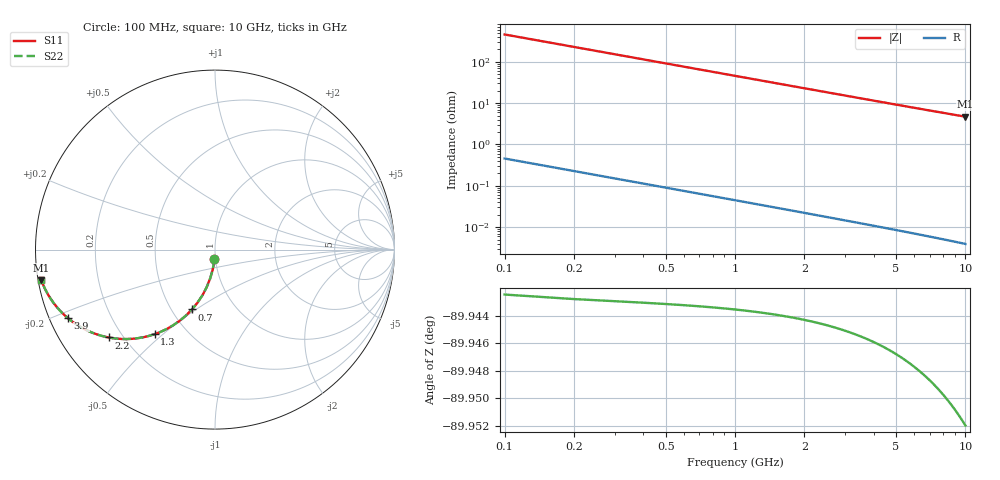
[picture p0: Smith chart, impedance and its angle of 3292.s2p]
# Hz S RI R 50.00
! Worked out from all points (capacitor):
!   100 points, 100 MHz to 10 GHz, reference 50 ohm
!   read as one part in shunt: C = 3.48 pF near 100 MHz
!   lowest |Z| = 4.71 ohm at 10 GHz (marker M1)
!   S11 on the Smith chart (normalised r, x): 100 MHz: 0.99, -0.11; 700 MHz: 0.63, -0.48; 1.3 GHz: 0.33, -0.47; 2.2 GHz: 0.15, -0.35; 3.9 GHz: 0.05, -0.22; 10 GHz: 0.01, -0.09
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1e8  -0.00301 -0.0545  0.9969 -0.0546  0.9969 -0.0546  -0.00301 -0.0545
2e8  -0.0119 -0.108  0.988 -0.1083  0.988 -0.1083  -0.0119 -0.108
3e8  -0.0264 -0.1597  0.9736 -0.16  0.9736 -0.16  -0.0264 -0.1597
4e8  -0.0459 -0.2086  0.954 -0.2091  0.954 -0.2091  -0.0459 -0.2086
5e8  -0.0699 -0.2542  0.9301 -0.2548  0.9301 -0.2548  -0.0699 -0.2542
6e8  -0.0976 -0.2959  0.9024 -0.2966  0.9024 -0.2966  -0.0976 -0.2959
7e8  -0.1282 -0.3335  0.8717 -0.3343  0.8717 -0.3343  -0.1282 -0.3335
8e8  -0.1611 -0.3667  0.8388 -0.3676  0.8388 -0.3676  -0.1611 -0.3667
1e9  -0.2307 -0.4202  0.7692 -0.4214  0.7692 -0.4214  -0.2307 -0.4202
1.3e9  -0.3362 -0.4711  0.6638 -0.4727  0.6638 -0.4727  -0.3362 -0.4711
1.5e9  -0.4026 -0.489  0.5973 -0.4908  0.5973 -0.4908  -0.4026 -0.489
1.8e9  -0.4924 -0.4984  0.5076 -0.5005  0.5076 -0.5005  -0.4924 -0.4984
2.2e9  -0.5915 -0.4897  0.4084 -0.4924  0.4084 -0.4924  -0.5915 -0.4897
2.5e9  -0.6514 -0.4745  0.3485 -0.4775  0.3485 -0.4775  -0.6514 -0.4745
2.8e9  -0.7009 -0.4557  0.299 -0.459  0.299 -0.459  -0.7009 -0.4557
3.4e9  -0.7754 -0.4147  0.2245 -0.4188  0.2245 -0.4188  -0.7754 -0.4147
3.9e9  -0.8195 -0.3817  0.1804 -0.3864  0.1804 -0.3864  -0.8195 -0.3817
4.5e9  -0.858 -0.3458  0.1419 -0.3512  0.1419 -0.3512  -0.858 -0.3458
5.1e9  -0.8858 -0.3143  0.1141 -0.3205  0.1141 -0.3205  -0.8858 -0.3143
6.7e9  -0.9305 -0.2496  0.0694 -0.2578  0.0694 -0.2578  -0.9305 -0.2496
8.4e9  -0.9547 -0.2022  0.0452 -0.2125  0.0452 -0.2125  -0.9547 -0.2022
1e10  -0.9676 -0.17  0.0322 -0.1824  0.0322 -0.1824  -0.9676 -0.17
